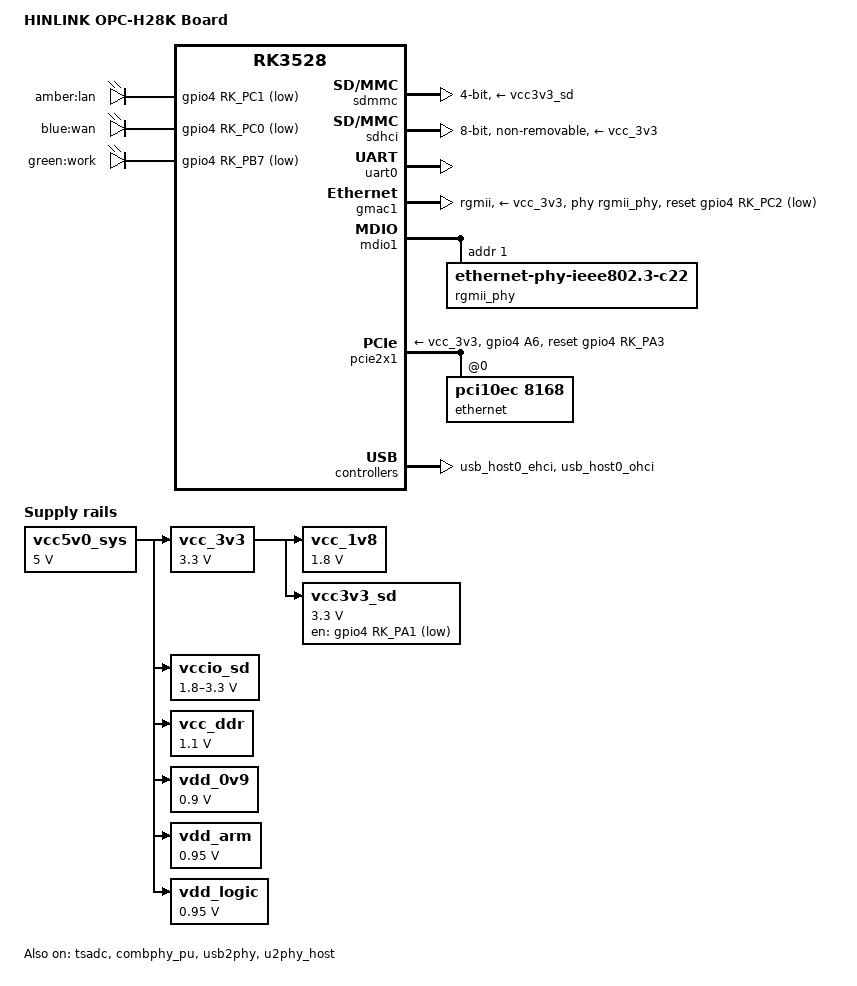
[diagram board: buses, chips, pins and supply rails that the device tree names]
// SPDX-License-Identifier: (GPL-2.0+ OR MIT)
/*
 * HINLINK OPC-H28K (RK3528)
 *
 * Board description written against the Rockchip 5.10 BSP SoC bindings,
 * because the drivers backported into this 5.4 kernel are taken from that
 * BSP (vendor clock IDs, vendor pinctrl group names, pcie2x1/combphy_pu
 * labels).  The mainline/LEDE board file was used as the reference for the
 * board wiring (regulators, LEDs, SD, GMAC, PCIe RTL8168).
 */

/dts-v1/;

#include <dt-bindings/gpio/gpio.h>
#include <dt-bindings/pinctrl/rockchip.h>

#include "rk3528.dtsi"

/ {
	model = "HINLINK OPC-H28K Board";
	compatible = "hinlink,opc-h28k", "rockchip,rk3528";

	aliases {
		mmc0 = &sdhci;
		mmc1 = &sdmmc;
		serial0 = &uart0;
		/*
		 * RK3528 has GMAC0 (RMII, integrated PHY) and GMAC1 (RGMII,
		 * external PHY).  The board only wires up GMAC1.
		 *
		 * The vendor/ophub firmware that boots this board numbers it
		 * ethernet0 (verified live on a running unit: ethernet0 ->
		 * /ethernet@ffbe0000, and its mdio bus comes up as stmmac-0), so
		 * keep the same numbering here instead of the previous
		 * ethernet1: that is what the dwmac-rk glue expects for the
		 * stmmac bus id it derives from this alias.
		 */
		ethernet0 = &gmac1;
		/*
		 * rk3528.dtsi aliases ethernet1 to gmac1 as well; drop that here so
		 * only one alias points at the SoC GMAC (the vendor firmware leaves
		 * ethernet1 for the PCIe NIC instead).
		 */
		/delete-property/ ethernet1;

		led-boot = &led_work;
		led-failsafe = &led_work;
		led-running = &led_work;
		led-upgrade = &led_work;
	};

	chosen {
		stdout-path = "serial0:1500000n8";
	};

	leds {
		compatible = "gpio-leds";
		pinctrl-names = "default";
		pinctrl-0 = <&lan_led_en>, <&wan_led_en>, <&work_led_en>;

		lan {
			label = "amber:lan";
			gpios = <&gpio4 RK_PC1 GPIO_ACTIVE_LOW>;
		};

		wan {
			label = "blue:wan";
			gpios = <&gpio4 RK_PC0 GPIO_ACTIVE_LOW>;
		};

		led_work: work {
			label = "green:work";
			gpios = <&gpio4 RK_PB7 GPIO_ACTIVE_LOW>;
			/* heartbeat so a user can see at a glance that Linux is
			 * running - the board has no UART exposed.  Same trigger
			 * the working vendor/ophub firmware uses on this pin. */
			linux,default-trigger = "heartbeat";
		};
	};

	vcc5v0_sys: vcc5v0-sys {
		compatible = "regulator-fixed";
		regulator-name = "vcc5v0_sys";
		regulator-always-on;
		regulator-boot-on;
		regulator-min-microvolt = <5000000>;
		regulator-max-microvolt = <5000000>;
	};

	vcc_3v3: vcc-3v3 {
		compatible = "regulator-fixed";
		regulator-name = "vcc_3v3";
		regulator-always-on;
		regulator-boot-on;
		regulator-min-microvolt = <3300000>;
		regulator-max-microvolt = <3300000>;
		vin-supply = <&vcc5v0_sys>;
	};

	vcc_1v8: vcc-1v8 {
		compatible = "regulator-fixed";
		regulator-name = "vcc_1v8";
		regulator-always-on;
		regulator-boot-on;
		regulator-min-microvolt = <1800000>;
		regulator-max-microvolt = <1800000>;
		vin-supply = <&vcc_3v3>;
	};

	vcc3v3_sd: vcc3v3-sd {
		compatible = "regulator-fixed";
		gpios = <&gpio4 RK_PA1 GPIO_ACTIVE_LOW>;
		pinctrl-names = "default";
		pinctrl-0 = <&sdmmc_pwren_l>;
		regulator-name = "vcc3v3_sd";
		regulator-min-microvolt = <3300000>;
		regulator-max-microvolt = <3300000>;
		vin-supply = <&vcc_3v3>;
	};

	vccio_sd: vccio-sd {
		compatible = "regulator-gpio";
		gpios = <&gpio4 RK_PB6 GPIO_ACTIVE_HIGH>;
		pinctrl-names = "default";
		pinctrl-0 = <&sdmmc_vol_ctrl_h>;
		regulator-name = "vccio_sd";
		regulator-min-microvolt = <1800000>;
		regulator-max-microvolt = <3300000>;
		states = <1800000 0x0>, <3300000 0x1>;
		vin-supply = <&vcc5v0_sys>;
	};

	vcc_ddr: vcc-ddr {
		compatible = "regulator-fixed";
		regulator-name = "vcc_ddr";
		regulator-always-on;
		regulator-boot-on;
		regulator-min-microvolt = <1100000>;
		regulator-max-microvolt = <1100000>;
		vin-supply = <&vcc5v0_sys>;
	};

	vdd_0v9: vdd-0v9 {
		compatible = "regulator-fixed";
		regulator-name = "vdd_0v9";
		regulator-always-on;
		regulator-boot-on;
		regulator-min-microvolt = <900000>;
		regulator-max-microvolt = <900000>;
		vin-supply = <&vcc5v0_sys>;
	};

	/*
	 * vdd_arm / vdd_logic stay fixed at the value the bootloader leaves them
	 * at (950 mV).  The vendor DT drives them with pwm-regulator, but on this
	 * tree the mainline pwm-regulator (5.4) has no regulator-init-microvolt
	 * support, so it comes up at the *minimum* of its range (746 mV) instead
	 * of the intended 953 mV - a rail we cannot verify from software.  The
	 * OSS rk3528 support does not do voltage scaling either: it pins the CPU
	 * clock (see the assigned-clock-rates in the cpu nodes) and leaves the
	 * rails alone.  950 mV covers every OPP up to 1.2 GHz.
	 */
	vdd_arm: vdd-arm {
		compatible = "regulator-fixed";
		regulator-name = "vdd_arm";
		regulator-always-on;
		regulator-boot-on;
		regulator-min-microvolt = <950000>;
		regulator-max-microvolt = <950000>;
		vin-supply = <&vcc5v0_sys>;
	};

	vdd_logic: vdd-logic {
		compatible = "regulator-fixed";
		regulator-name = "vdd_logic";
		regulator-always-on;
		regulator-boot-on;
		regulator-min-microvolt = <950000>;
		regulator-max-microvolt = <950000>;
		vin-supply = <&vcc5v0_sys>;
	};
};

&cpu0 {
	cpu-supply = <&vdd_arm>;
};

&cpu1 {
	cpu-supply = <&vdd_arm>;
};

&cpu2 {
	cpu-supply = <&vdd_arm>;
};

&cpu3 {
	cpu-supply = <&vdd_arm>;
};

&pinctrl {
	leds {
		/*
		 * The three board LEDs are active low.  They must be pulled up, or
		 * the pin floats and the LED can never be driven on - the vendor
		 * 5.10 firmware uses pcfg-pull-up for exactly these pins
		 * (phandle 0x9a = pcfg-pull-up in its DTB).
		 */
		lan_led_en: lan-led-en {
			rockchip,pins = <4 RK_PC1 RK_FUNC_GPIO &pcfg_pull_up>;
		};

		wan_led_en: wan-led-en {
			rockchip,pins = <4 RK_PC0 RK_FUNC_GPIO &pcfg_pull_up>;
		};

		work_led_en: led-work-en {
			rockchip,pins = <4 RK_PB7 RK_FUNC_GPIO &pcfg_pull_up>;
		};
	};

	pcie {
		rtl8111_isolate: rtl8111-isolate {
			rockchip,pins = <4 RK_PA6 RK_FUNC_GPIO &pcfg_pull_up>;
		};
	};

	sdmmc {
		sdmmc_pwren_l: sdmmc-pwren-l {
			rockchip,pins = <4 RK_PA1 RK_FUNC_GPIO &pcfg_pull_none>;
		};

		sdmmc_vol_ctrl_h: sdmmc-vol-ctrl-h {
			rockchip,pins = <4 RK_PB6 RK_FUNC_GPIO &pcfg_pull_none>;
		};
	};
};

&sdmmc {
	bus-width = <4>;
	cap-sd-highspeed;
	disable-wp;
	sd-uhs-sdr104;
	pinctrl-names = "default";
	pinctrl-0 = <&sdmmc_bus4>, <&sdmmc_clk>, <&sdmmc_cmd>, <&sdmmc_det>;
	vmmc-supply = <&vcc3v3_sd>;
	vqmmc-supply = <&vccio_sd>;
	status = "okay";
};

/*
 * Onboard eMMC (the OPC-H28K boots from here).  Without this the kernel
 * cannot mount the rootfs of an image flashed to the eMMC, so it is not
 * optional even when the TF card is used for testing.
 */
&sdhci {
	bus-width = <8>;
	no-sd;
	no-sdio;
	non-removable;
	cap-mmc-highspeed;
	mmc-hs200-1_8v;
	vmmc-supply = <&vcc_3v3>;
	vqmmc-supply = <&vcc_1v8>;
	status = "okay";
};

&uart0 {
	pinctrl-names = "default";
	pinctrl-0 = <&uart0m0_xfer>;
	status = "okay";
};

/*
 * GMAC1: RGMII, external gigabit PHY (port 1 of the OPC-H28K).
 *
 * The delays below are the values this very board runs with on the working
 * vendor/ophub 5.10 firmware (its dmesg prints "init for RGMII", "TX
 * delay(0x36)", "RX delay(0x2d)"): plain rgmii with the *SoC* supplying both
 * RGMII delays, and the PHY adding none.  Rockchip's RK3528 EVB uses a
 * different combination (rgmii-rxid + tx_delay 0x30) because its PHY wiring
 * differs, so do not copy the EVB values here.
 */
&gmac1 {
	status = "okay";
	clock_in_out = "output";
	phy-mode = "rgmii";
	phy-handle = <&rgmii_phy>;
	phy-supply = <&vcc_3v3>;

	/*
	 * Measured on this board with the driver's RGMII delay sweep (each combo
	 * written for 8 s while the host pinged us, counting eth1 rx_packets):
	 *   0x36/0x2d -> +0      0x36/0x00 -> +210   0x30/0x10 -> +281
	 *   0x10/0x10 -> +78     0x0f/0x0f -> +71    0x00/0x2d -> +0
	 * The values copied from the vendor firmware (0x36/0x2d) receive nothing;
	 * 0x30/0x10 receives the most.  It also matches what Rockchip's RK3528 EVB
	 * uses (tx_delay 0x30) - the board's PHY wiring wants a TX delay and only
	 * a small RX delay.
	 */
	tx_delay = <0x30>;
	rx_delay = <0x10>;

	snps,reset-active-low;
	snps,reset-delays-us = <0 20000 100000>;
	snps,reset-gpio = <&gpio4 RK_PC2 GPIO_ACTIVE_LOW>;

	pinctrl-names = "default";
	pinctrl-0 = <&rgmii_miim>, <&rgmii_tx_bus2>, <&rgmii_rx_bus2>,
		    <&rgmii_rgmii_clk>, <&rgmii_rgmii_bus>, <&eth_pins>;
};

&mdio1 {
	rgmii_phy: phy@1 {
		compatible = "ethernet-phy-ieee802.3-c22";
		reg = <0x1>;
		/*
		 * LED pin mapping for the RTL8211F behind the LAN port, applied
		 * by the PHY driver into page 0xd04: reg 0x10 = this value and
		 * reg 0x11 (EEELCR) = 0.  Without it the PHY default maps the
		 * green jack LED to 10M only and lets EEE drive it, so at
		 * gigabit the LED stays dark and keeps flickering off.
		 * 0x6d60 is the value upstream/lede uses on every Rockchip
		 * board with this PHY, including rk3528-opc-h28k.
		 */
		realtek,led-data = <0x6d60>;
	};
};

/* SoC thermal sensor.  The CPU sensor feeds the soc-thermal zone defined in
 * rk3528.dtsi (with its OTP trim cells for calibration); that zone is what the
 * LuCI overview reports as the chip temperature. */
&tsadc {
	status = "okay";
};

/* Combo PHY feeding the PCIe controller (PE/PCIe lane) */
&combphy_pu {
	status = "okay";
};

/* Port 2 of the OPC-H28K: RTL8168 gigabit NIC behind the PCIe x1 lane */
&pcie2x1 {
	status = "okay";
	reset-gpios = <&gpio4 RK_PA3 GPIO_ACTIVE_HIGH>;
	vpcie3v3-supply = <&vcc_3v3>;
	pinctrl-names = "default";
	pinctrl-0 = <&rtl8111_isolate>;

	bridge@0,0 {
		reg = <0x00000000 0 0 0 0>;
		#address-cells = <3>;
		#size-cells = <2>;
		ranges;

		ethernet@0,0 {
			compatible = "pci10ec,8168";
			reg = <0x000000 0 0 0 0>;
			/*
			 * LED pin mapping for the RTL8111H on this board, applied
			 * by the r8168 driver into register 0x18 (CustomLED).
			 * Without it the chip default (0x0ca9) maps the green pin
			 * to 10/100M only, so a gigabit link lights only the
			 * amber pin.  0x870 is the value the vendor firmware uses:
			 * green = link, amber = activity.
			 */
			realtek,led-data = <0x870>;
		};
	};
};

/*
 * Reserved DRAM window used by pstore/ramoops: the kernel writes its console
 * log here when it panics, the SoC then warm-resets, and U-Boot copies this
 * window into the boot partition so it can be read back with no UART and no
 * working userspace.  Placed high (240 MiB) so neither U-Boot's load area nor
 * the kernel image can collide with it.
 */
/ {
	reserved-memory {
		#address-cells = <2>;
		#size-cells = <2>;
		ranges;

		ramoops@f000000 {
			compatible = "ramoops";
			reg = <0x0 0x0f000000 0x0 0x100000>;
			console-size = <0x40000>;
			record-size = <0x10000>;
			pmsg-size = <0x20000>;
		};
	};
};

/*
 * USB 2.0: the board has one type-A port wired to the usb2phy host port.
 * RK3528's SoC dtsi disables the controller, the PHY and both ports, so all
 * four have to be enabled for the port to come up (the vendor firmware has
 * exactly the same four nodes as "okay").
 */
&usb2phy {
	status = "okay";
};

&u2phy_host {
	status = "okay";
};

&usb_host0_ehci {
	status = "okay";
};

&usb_host0_ohci {
	status = "okay";
};
